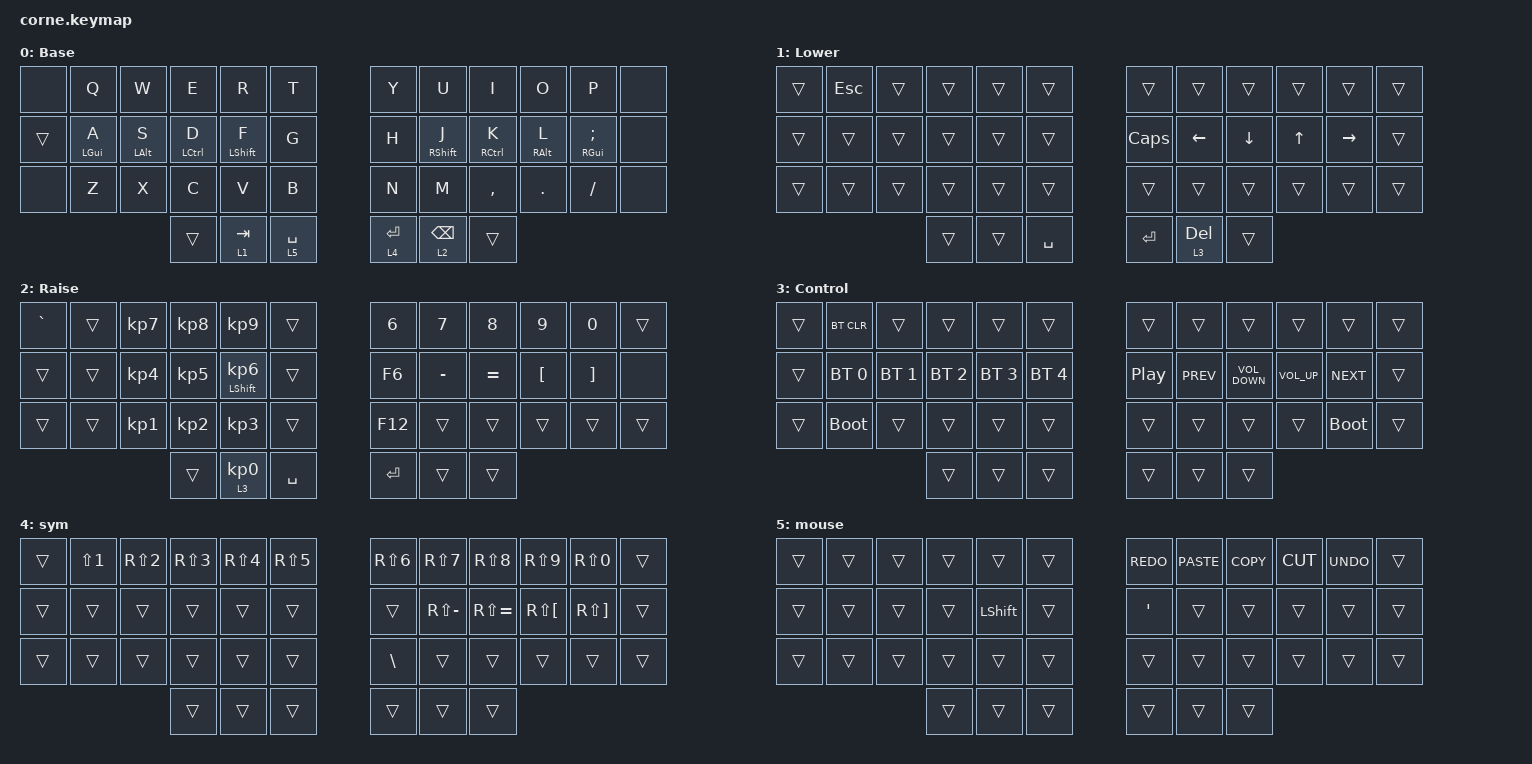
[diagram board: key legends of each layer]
/*
 * Copyright (c) 2020 The ZMK Contributors
 *
 * SPDX-License-Identifier: MIT
 */

#include <behaviors.dtsi>
#include <dt-bindings/zmk/bt.h>
#include <dt-bindings/zmk/keys.h>

/ {
    keymap {
        compatible = "zmk,keymap";

        default_layer {
            label = "Base";
            bindings = <
&none   &kp Q       &kp W           &kp E        &kp R             &kp T          &kp Y        &kp U            &kp I        &kp O            &kp P                    &none
&trans  &mt LGUI A  &mt LEFT_ALT S  &mt LCTRL D  &mt LEFT_SHIFT F  &kp G          &kp H        &mt RSHIFT J     &mt RCTRL K  &mt RIGHT_ALT L  &mt RIGHT_GUI SEMICOLON  &none
&none   &kp Z       &kp X           &kp C        &kp V             &kp B          &kp N        &kp M            &kp COMMA    &kp DOT          &kp FSLH                 &none
                                    &trans       &lt 1 TAB         &lt 5 SPACE    &lt 4 ENTER  &lt 2 BACKSPACE  &trans
            >;
        };

        lower_layer {
            label = "Lower";
            bindings = <
&trans  &kp ESCAPE  &trans  &trans  &trans  &trans       &trans        &trans     &trans    &trans  &trans     &trans
&trans  &trans      &trans  &trans  &trans  &trans       &kp CAPSLOCK  &kp LEFT   &kp DOWN  &kp UP  &kp RIGHT  &trans
&trans  &trans      &trans  &trans  &trans  &trans       &trans        &trans     &trans    &trans  &trans     &trans
                            &trans  &trans  &kp SPACE    &kp RET       &lt 3 DEL  &trans
            >;
        };

        raise_layer {
            label = "Raise";
            bindings = <
&kp GRAVE  &trans  &kp KP_N7  &kp KP_N8  &kp KP_N9             &trans       &kp NUMBER_6  &kp NUMBER_7  &kp NUMBER_8  &kp NUMBER_9  &kp N0    &trans
&trans     &trans  &kp KP_N4  &kp KP_N5  &mt LEFT_SHIFT KP_N6  &trans       &kp F6        &kp MINUS     &kp EQUAL     &kp LBKT      &kp RBKT  &none
&trans     &trans  &kp KP_N1  &kp KP_N2  &kp KP_N3             &trans       &kp F12       &trans        &trans        &trans        &trans    &trans
                              &trans     &lt 3 KP_N0           &kp SPACE    &kp RET       &trans        &trans
            >;
        };

        control_layer {
            label = "Control";
            bindings = <
&trans  &bt BT_CLR    &trans        &trans        &trans        &trans          &trans            &trans      &trans             &trans           &trans       &trans
&trans  &bt BT_SEL 0  &bt BT_SEL 1  &bt BT_SEL 2  &bt BT_SEL 3  &bt BT_SEL 4    &kp C_PLAY_PAUSE  &kp K_PREV  &kp C_VOLUME_DOWN  &kp C_VOLUME_UP  &kp C_NEXT   &trans
&trans  &bootloader   &trans        &trans        &trans        &trans          &trans            &trans      &trans             &trans           &bootloader  &trans
                                    &trans        &trans        &trans          &trans            &trans      &trans
            >;
        };

        sym {
            bindings = <
&trans  &kp LS(N1)  &kp RS(N2)  &kp RS(N3)  &kp RS(N4)  &kp RS(N5)    &kp RS(N6)  &kp RS(N7)     &kp RS(N8)     &kp RS(N9)    &kp RS(N0)    &trans
&trans  &trans      &trans      &trans      &trans      &trans        &trans      &kp RS(MINUS)  &kp RS(EQUAL)  &kp RS(LBKT)  &kp RS(RBKT)  &trans
&trans  &trans      &trans      &trans      &trans      &trans        &kp BSLH    &trans         &trans         &trans        &trans        &trans
                                &trans      &trans      &trans        &trans      &trans         &trans
            >;

            label = "sym";
        };

        mouse {
            bindings = <
&trans  &trans  &trans  &trans  &trans  &trans    &kp K_REDO  &kp K_PASTE  &kp K_COPY  &kp K_CUT  &kp K_UNDO  &trans
&trans  &trans  &trans  &trans  &kp LSHIFT  &trans    &kp SQT     &trans       &trans      &trans     &trans      &trans
&trans  &trans  &trans  &trans  &trans  &trans    &trans      &trans       &trans      &trans     &trans      &trans
                        &trans  &trans  &trans    &trans      &trans       &trans
            >;

            label = "mouse";
        };
    };
};
